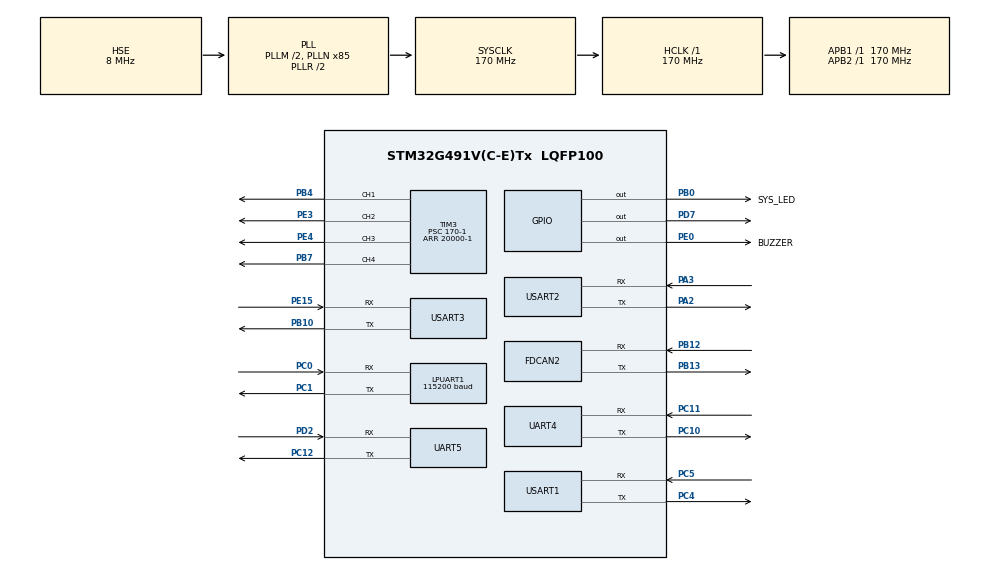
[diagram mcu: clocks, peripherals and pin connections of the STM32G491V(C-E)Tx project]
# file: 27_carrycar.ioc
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FDCAN2.AutoRetransmission=ENABLE
FDCAN2.CalculateBaudRateNominal=500000
FDCAN2.CalculateTimeBitNominal=2000
FDCAN2.CalculateTimeQuantumNominal=100.0
FDCAN2.DataSyncJumpWidth=1
FDCAN2.ExtFiltersNbr=1
FDCAN2.NominalPrescaler=17
FDCAN2.NominalSyncJumpWidth=4
FDCAN2.NominalTimeSeg1=15
FDCAN2.NominalTimeSeg2=4
LPUART1.BaudRate=115200
Mcu.Family=STM32G4
Mcu.Name=STM32G491V(C-E)Tx
Mcu.Package=LQFP100
NVIC.FDCAN2_IT0_IRQn=true\:2\:0\:false\:false\:true\:true\:true\:true
NVIC.LPUART1_IRQn=true\:0\:0\:false\:false\:true\:true\:true\:true
NVIC.PriorityGroup=NVIC_PRIORITYGROUP_4
NVIC.UART4_IRQn=true\:3\:0\:false\:false\:true\:true\:true\:true
NVIC.UART5_IRQn=true\:3\:0\:false\:false\:true\:true\:true\:true
NVIC.USART1_IRQn=true\:3\:0\:false\:false\:true\:true\:true\:true
NVIC.USART2_IRQn=true\:3\:0\:false\:false\:true\:true\:true\:true
NVIC.USART3_IRQn=true\:3\:0\:false\:false\:true\:true\:true\:true
PA13.Mode=Serial_Wire
PA13.Signal=SYS_JTMS-SWDIO
PA14.Mode=Serial_Wire
PA14.Signal=SYS_JTCK-SWCLK
PA2.Mode=Asynchronous
PA2.Signal=USART2_TX
PA3.Mode=Asynchronous
PA3.Signal=USART2_RX
PB0.GPIO_Label=SYS_LED
PB0.Signal=GPIO_Output
PB10.Mode=Asynchronous
PB10.Signal=USART3_TX
PB12.Mode=FDCAN_Activate
PB12.Signal=FDCAN2_RX
PB13.Mode=FDCAN_Activate
PB13.Signal=FDCAN2_TX
PB4.Signal=S_TIM3_CH1
PB7.Signal=S_TIM3_CH4
PC0.Mode=Asynchronous
PC0.Signal=LPUART1_RX
PC1.Mode=Asynchronous
PC1.Signal=LPUART1_TX
PC10.Mode=Asynchronous
PC10.Signal=UART4_TX
PC11.Mode=Asynchronous
PC11.Signal=UART4_RX
PC12.Mode=Asynchronous
PC12.Signal=UART5_TX
PC4.Mode=Asynchronous
PC4.Signal=USART1_TX
PC5.Mode=Asynchronous
PC5.Signal=USART1_RX
PD2.Mode=Asynchronous
PD2.Signal=UART5_RX
PD7.PinState=GPIO_PIN_SET
PD7.Signal=GPIO_Output
PE0.GPIO_Label=BUZZER
PE0.Signal=GPIO_Output
PE15.Mode=Asynchronous
PE15.Signal=USART3_RX
PE3.Signal=S_TIM3_CH2
PE4.Signal=S_TIM3_CH3
PF0-OSC_IN.Mode=HSE-External-Oscillator
PF0-OSC_IN.Signal=RCC_OSC_IN
PF1-OSC_OUT.Mode=HSE-External-Oscillator
PF1-OSC_OUT.Signal=RCC_OSC_OUT
ProjectManager.HeapSize=0x200
ProjectManager.StackSize=0x400
ProjectManager.TargetToolchain=MDK-ARM V5
RCC.ADC12Freq_Value=170000000
RCC.ADC345Freq_Value=170000000
RCC.AHBFreq_Value=170000000
RCC.APB1Freq_Value=170000000
RCC.APB1TimFreq_Value=170000000
RCC.APB2Freq_Value=170000000
RCC.APB2TimFreq_Value=170000000
RCC.CortexFreq_Value=170000000
RCC.EXTERNAL_CLOCK_VALUE=12288000
RCC.HCLKFreq_Value=170000000
RCC.HSE_VALUE=8000000
RCC.HSI48_VALUE=48000000
RCC.HSI_VALUE=16000000
RCC.LSE_VALUE=32768
RCC.PLLM=RCC_PLLM_DIV2
RCC.PLLN=85
RCC.PLLSourceVirtual=RCC_PLLSOURCE_HSE
RCC.SYSCLKFreq_VALUE=170000000
RCC.SYSCLKSource=RCC_SYSCLKSOURCE_PLLCLK
RCC.VCOOutputFreq_Value=340000000
SH.S_TIM3_CH1.0=TIM3_CH1,PWM Generation1 CH1
SH.S_TIM3_CH2.0=TIM3_CH2,PWM Generation2 CH2
SH.S_TIM3_CH3.0=TIM3_CH3,PWM Generation3 CH3
SH.S_TIM3_CH4.0=TIM3_CH4,PWM Generation4 CH4
TIM3.Channel-PWM\ Generation1\ CH1=TIM_CHANNEL_1
TIM3.Channel-PWM\ Generation2\ CH2=TIM_CHANNEL_2
TIM3.Channel-PWM\ Generation3\ CH3=TIM_CHANNEL_3
TIM3.Channel-PWM\ Generation4\ CH4=TIM_CHANNEL_4
TIM3.PeriodNoDither=20000-1
TIM3.Prescaler=170-1
TIM3.PulseNoDither_1=1500
TIM3.PulseNoDither_2=1500
TIM3.PulseNoDither_3=1500
TIM3.PulseNoDither_4=1500
UART4.VirtualMode-Asynchronous=VM_ASYNC
UART4.WordLength=WORDLENGTH_8B
UART5.VirtualMode-Asynchronous=VM_ASYNC
UART5.WordLength=WORDLENGTH_8B
USART1.VirtualMode-Asynchronous=VM_ASYNC
USART1.WordLength=WORDLENGTH_8B
USART2.VirtualMode-Asynchronous=VM_ASYNC
USART2.WordLength=WORDLENGTH_8B
USART3.VirtualMode-Asynchronous=VM_ASYNC
USART3.WordLength=WORDLENGTH_8B
VP_SYS_VS_DBSignals.Mode=DisableDeadBatterySignals
VP_TIM3_VS_ClockSourceINT.Mode=Internal
board=custom

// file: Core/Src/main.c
/* USER CODE BEGIN Header */
/**
  ******************************************************************************
  * @file           : main.c
  * @brief          : Main program body
  ******************************************************************************
  * @attention
  * +Copyright (c) 2026 STMicroelectronics.
  * All rights reserved.
  *
  * This software is licensed under terms that can be found in the LICENSE file
  * in the root directory of this software component.
  * If no LICENSE file comes with this software, it is provided AS-IS.
  *
  ******************************************************************************
  */
/* USER CODE END Header */
#include "main.h"
#include "fdcan.h"
#include "usart.h"
#include "tim.h"
#include "gpio.h"

/* USER CODE BEGIN Includes */
#include "can.h"
#include "robot_app.h"
#include "vofa_debug.h"

//test
#include "servo.h"
#include "robot_config.h"
#include "manipulator_action.h"
#include "k230.h"
#include "material_load_task.h"
#include "app_uart.h"

/* USER CODE END Includes */

/* USER CODE BEGIN PM */

/*
 * 单次夹取测试来源：
 * MANIP_PICKUP_SOURCE_GROUND = 地面夹取
 * MANIP_PICKUP_SOURCE_TABLE  = 原料台夹取
 */
#define PICKUP_TEST_SOURCE \
    MANIP_PICKUP_SOURCE_TABLE

/* USER CODE END PM */

void SystemClock_Config(void);

int main(void)

  {

  /* MCU Configuration--------------------------------------------------------*/

  /* Reset of all peripherals, Initializes the Flash interface and the Systick. */
  HAL_Init();

  /* Configure the system clock */
  SystemClock_Config();

  /* Initialize all configured peripherals */
  MX_GPIO_Init();
  MX_TIM3_Init();
  MX_USART1_UART_Init();
  MX_USART2_UART_Init();
  MX_USART3_UART_Init();
  MX_UART4_Init();
  MX_UART5_Init();
  MX_FDCAN2_Init();
  MX_LPUART1_UART_Init();
  /* USER CODE BEGIN 2 */
	fdcan2_UserInit();

	VofaDebug_Init();
	/* RobotApp_Init()统一初始化并挂接全部UART接收，避免重复Receive_IT。 */

	//test K230期间不启动
	Servo_Init();
	ManipulatorAction_Init();
	MaterialLoadTask_Init();

#if MISSION_CHASSIS_ONLY
	/* 只跑底盘模式：上电不做任何夹爪动作，全部机械臂动作都留给占位延时。 */
#else
	GripperServo_Open_Small();
#endif
	RobotApp_Init();

//	K230_Init();

  /* USER CODE END 2 */

  /* Infinite loop */
  /* USER CODE BEGIN WHILE */
  while (1)
  {
		uint32_t now_ms = HAL_GetTick();

    VofaDebug_Update(now_ms);
    /*
     * HWT101 零偏校准计时（VOFA 0x03 启动后约 20 s 自动退出）。
     * 这里重新取 tick：0x03 是在 VofaDebug_Update() 内部用 HAL_GetTick()
     * 记录起点的，若继续用循环开头缓存的 now_ms，理论上可能比起点小 1 ms，
     * 无符号相减会下溢成极大值并立刻结束校准。
     */
    AppUart_Update(HAL_GetTick());
    RobotApp_Update(now_ms);

//    /*推进夹爪旋转舵机和夹爪开合舵机的平滑控制*/
//    CarouselServo_Update(now_ms);
//    GripperServo_Update(now_ms);

///*
// * 等待夹爪上电张开完成后，
// * 只启动一次“物料托盘1、2、3依次放到地面”的任务。
// */
//		if ((!material_unload_test_started) &&
//				GripperServo_IsDone())
//		{
//				if (MaterialUnloadTask_Start())
//				{
//						material_unload_test_started = true;
//				}
//		}

//    /*
//     * 先推进当前单次机械臂动作。
//     */
//    ManipulatorAction_Update(now_ms);

//    /*
//     * 推进上层三次卸料调度。
//     */
//    MaterialLoadTask_Update(now_ms);

//    HAL_Delay(1U);

//	//K230 测试
//		K230_Process();
//		VofaDebug_Update(now_ms);
//		HAL_Delay(1U);

    /* USER CODE END WHILE */

  }
}

void SystemClock_Config(void)
{
  RCC_OscInitTypeDef RCC_OscInitStruct = {0};
  RCC_ClkInitTypeDef RCC_ClkInitStruct = {0};

  /** Configure the main internal regulator output voltage
  */
  HAL_PWREx_ControlVoltageScaling(PWR_REGULATOR_VOLTAGE_SCALE1_BOOST);

  /** Initializes the RCC Oscillators according to the specified parameters
  * in the RCC_OscInitTypeDef structure.
  */
  RCC_OscInitStruct.OscillatorType = RCC_OSCILLATORTYPE_HSE;
  RCC_OscInitStruct.HSEState = RCC_HSE_ON;
  RCC_OscInitStruct.PLL.PLLState = RCC_PLL_ON;
  RCC_OscInitStruct.PLL.PLLSource = RCC_PLLSOURCE_HSE;
  RCC_OscInitStruct.PLL.PLLM = RCC_PLLM_DIV2;
  RCC_OscInitStruct.PLL.PLLN = 85;
  RCC_OscInitStruct.PLL.PLLP = RCC_PLLP_DIV2;
  RCC_OscInitStruct.PLL.PLLQ = RCC_PLLQ_DIV2;
  RCC_OscInitStruct.PLL.PLLR = RCC_PLLR_DIV2;
  if (HAL_RCC_OscConfig(&RCC_OscInitStruct) != HAL_OK)
  {
    Error_Handler();
  }

  /** Initializes the CPU, AHB and APB buses clocks
  */
  RCC_ClkInitStruct.ClockType = RCC_CLOCKTYPE_HCLK|RCC_CLOCKTYPE_SYSCLK
                              |RCC_CLOCKTYPE_PCLK1|RCC_CLOCKTYPE_PCLK2;
  RCC_ClkInitStruct.SYSCLKSource = RCC_SYSCLKSOURCE_PLLCLK;
  RCC_ClkInitStruct.AHBCLKDivider = RCC_SYSCLK_DIV1;
  RCC_ClkInitStruct.APB1CLKDivider = RCC_HCLK_DIV1;
  RCC_ClkInitStruct.APB2CLKDivider = RCC_HCLK_DIV1;

  if (HAL_RCC_ClockConfig(&RCC_ClkInitStruct, FLASH_LATENCY_4) != HAL_OK)
  {
    Error_Handler();
  }
}

void Error_Handler(void)
{
  __disable_irq();
  while (1)
  {
  }
}
